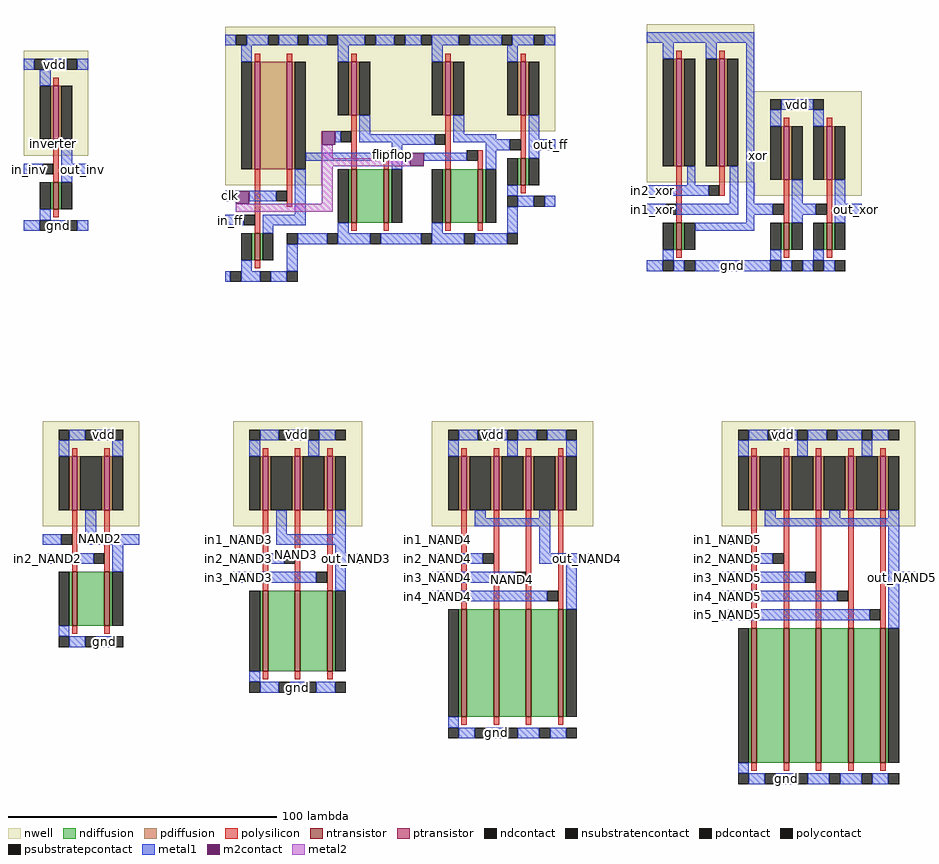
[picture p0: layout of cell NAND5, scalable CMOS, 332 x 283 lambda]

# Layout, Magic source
magic
tech scmos
<< nwell >>
rect -26 -25 -2 14
rect 49 -16 172 23
rect 206 -1 246 24
rect 49 -36 85 -16
rect 206 -35 286 -1
rect 246 -40 286 -35
rect -19 -163 17 -124
rect 52 -163 100 -124
rect 126 -163 186 -124
rect 234 -163 306 -124
<< ntransistor >>
rect -15 -45 -13 -35
rect 96 -50 98 -30
rect 108 -50 110 -30
rect 131 -50 133 -30
rect 143 -50 145 -30
rect 159 -36 161 -26
rect 60 -64 62 -54
rect 217 -60 219 -50
rect 257 -60 259 -50
rect 273 -60 275 -50
rect -8 -200 -6 -180
rect 4 -200 6 -180
rect 63 -217 65 -187
rect 75 -217 77 -187
rect 87 -217 89 -187
rect 137 -234 139 -194
rect 149 -234 151 -194
rect 161 -234 163 -194
rect 173 -234 175 -194
rect 245 -251 247 -201
rect 257 -251 259 -201
rect 269 -251 271 -201
rect 281 -251 283 -201
rect 293 -251 295 -201
<< ptransistor >>
rect -15 -19 -13 1
rect 60 -30 62 10
rect 72 -30 74 10
rect 96 -10 98 10
rect 131 -10 133 10
rect 159 -10 161 10
rect 217 -29 219 11
rect 233 -29 235 11
rect 257 -34 259 -14
rect 273 -34 275 -14
rect -8 -157 -6 -137
rect 4 -157 6 -137
rect 63 -157 65 -137
rect 75 -157 77 -137
rect 87 -157 89 -137
rect 137 -157 139 -137
rect 149 -157 151 -137
rect 161 -157 163 -137
rect 173 -157 175 -137
rect 245 -157 247 -137
rect 257 -157 259 -137
rect 269 -157 271 -137
rect 281 -157 283 -137
rect 293 -157 295 -137
<< ndiffusion >>
rect -16 -45 -15 -35
rect -13 -45 -12 -35
rect 95 -50 96 -30
rect 98 -50 108 -30
rect 110 -50 111 -30
rect 130 -50 131 -30
rect 133 -50 143 -30
rect 145 -50 146 -30
rect 158 -36 159 -26
rect 161 -36 162 -26
rect 59 -64 60 -54
rect 62 -64 63 -54
rect 216 -60 217 -50
rect 219 -60 220 -50
rect 256 -60 257 -50
rect 259 -60 260 -50
rect 272 -60 273 -50
rect 275 -60 276 -50
rect -9 -200 -8 -180
rect -6 -200 4 -180
rect 6 -200 7 -180
rect 62 -217 63 -187
rect 65 -217 75 -187
rect 77 -217 87 -187
rect 89 -217 90 -187
rect 136 -234 137 -194
rect 139 -234 149 -194
rect 151 -234 161 -194
rect 163 -234 173 -194
rect 175 -234 176 -194
rect 244 -251 245 -201
rect 247 -251 257 -201
rect 259 -251 269 -201
rect 271 -251 281 -201
rect 283 -251 293 -201
rect 295 -251 296 -201
<< pdiffusion >>
rect -16 -19 -15 1
rect -13 -19 -12 1
rect 59 -30 60 10
rect 62 -30 72 10
rect 74 -30 75 10
rect 95 -10 96 10
rect 98 -10 99 10
rect 130 -10 131 10
rect 133 -10 134 10
rect 158 -10 159 10
rect 161 -10 162 10
rect 216 -29 217 11
rect 219 -29 220 11
rect 232 -29 233 11
rect 235 -29 236 11
rect 256 -34 257 -14
rect 259 -34 260 -14
rect 272 -34 273 -14
rect 275 -34 276 -14
rect -9 -157 -8 -137
rect -6 -157 -5 -137
rect 3 -157 4 -137
rect 6 -157 7 -137
rect 62 -157 63 -137
rect 65 -157 66 -137
rect 74 -157 75 -137
rect 77 -157 78 -137
rect 86 -157 87 -137
rect 89 -157 90 -137
rect 136 -157 137 -137
rect 139 -157 140 -137
rect 148 -157 149 -137
rect 151 -157 152 -137
rect 160 -157 161 -137
rect 163 -157 164 -137
rect 172 -157 173 -137
rect 175 -157 176 -137
rect 244 -157 245 -137
rect 247 -157 248 -137
rect 256 -157 257 -137
rect 259 -157 260 -137
rect 268 -157 269 -137
rect 271 -157 272 -137
rect 280 -157 281 -137
rect 283 -157 284 -137
rect 292 -157 293 -137
rect 295 -157 296 -137
<< ndcontact >>
rect -20 -45 -16 -35
rect -12 -45 -8 -35
rect 91 -50 95 -30
rect 111 -50 115 -30
rect 126 -50 130 -30
rect 146 -50 150 -30
rect 154 -36 158 -26
rect 162 -36 166 -26
rect 55 -64 59 -54
rect 63 -64 67 -54
rect 212 -60 216 -50
rect 220 -60 224 -50
rect 252 -60 256 -50
rect 260 -60 264 -50
rect 268 -60 272 -50
rect 276 -60 280 -50
rect -13 -200 -9 -180
rect 7 -200 11 -180
rect 58 -217 62 -187
rect 90 -217 94 -187
rect 132 -234 136 -194
rect 176 -234 180 -194
rect 240 -251 244 -201
rect 296 -251 300 -201
<< pdcontact >>
rect -20 -19 -16 1
rect -12 -19 -8 1
rect 55 -30 59 10
rect 75 -30 79 10
rect 91 -10 95 10
rect 99 -10 103 10
rect 126 -10 130 10
rect 134 -10 138 10
rect 154 -10 158 10
rect 162 -10 166 10
rect 212 -29 216 11
rect 220 -29 224 11
rect 228 -29 232 11
rect 236 -29 240 11
rect 252 -34 256 -14
rect 260 -34 264 -14
rect 268 -34 272 -14
rect 276 -34 280 -14
rect -13 -157 -9 -137
rect -5 -157 3 -137
rect 7 -157 11 -137
rect 58 -157 62 -137
rect 66 -157 74 -137
rect 78 -157 86 -137
rect 90 -157 94 -137
rect 132 -157 136 -137
rect 140 -157 148 -137
rect 152 -157 160 -137
rect 164 -157 172 -137
rect 176 -157 180 -137
rect 240 -157 244 -137
rect 248 -157 256 -137
rect 260 -157 268 -137
rect 272 -157 280 -137
rect 284 -157 292 -137
rect 296 -157 300 -137
<< psubstratepcontact >>
rect -20 -53 -16 -49
rect -10 -53 -6 -49
rect 154 -44 158 -40
rect 164 -44 168 -40
rect 72 -58 76 -54
rect 87 -58 91 -54
rect 103 -58 107 -54
rect 122 -58 126 -54
rect 138 -58 142 -54
rect 154 -58 158 -54
rect 212 -68 216 -64
rect 220 -68 224 -64
rect 252 -68 256 -64
rect 260 -68 264 -64
rect 268 -68 272 -64
rect 276 -68 280 -64
rect 51 -72 55 -68
rect 62 -72 66 -68
rect 72 -72 76 -68
rect -13 -208 -9 -204
rect -3 -208 1 -204
rect 7 -208 11 -204
rect 58 -225 62 -221
rect 69 -225 73 -221
rect 79 -225 83 -221
rect 90 -225 94 -221
rect 132 -242 136 -238
rect 142 -242 146 -238
rect 154 -242 158 -238
rect 166 -242 170 -238
rect 176 -242 180 -238
rect 240 -259 244 -255
rect 250 -259 254 -255
rect 262 -259 266 -255
rect 274 -259 278 -255
rect 286 -259 290 -255
rect 296 -259 300 -255
<< nsubstratencontact >>
rect 53 16 57 20
rect 65 16 69 20
rect 76 16 80 20
rect 87 16 91 20
rect 101 16 105 20
rect 112 16 116 20
rect 122 16 126 20
rect 136 16 140 20
rect 152 16 156 20
rect 164 16 168 20
rect -22 7 -18 11
rect -10 7 -6 11
rect 252 -8 256 -4
rect 268 -8 272 -4
rect -13 -131 -9 -127
rect -3 -131 1 -127
rect 7 -131 11 -127
rect 58 -131 62 -127
rect 69 -131 73 -127
rect 80 -131 84 -127
rect 90 -131 94 -127
rect 132 -131 136 -127
rect 143 -131 147 -127
rect 154 -131 158 -127
rect 165 -131 169 -127
rect 176 -131 180 -127
rect 240 -131 244 -127
rect 251 -131 255 -127
rect 262 -131 266 -127
rect 273 -131 277 -127
rect 286 -131 290 -127
rect 296 -131 300 -127
<< polysilicon >>
rect 60 10 62 13
rect 72 10 74 13
rect 96 10 98 13
rect 131 10 133 13
rect 159 10 161 13
rect 217 11 219 14
rect 233 11 235 14
rect -15 1 -13 4
rect -15 -35 -13 -19
rect 96 -30 98 -10
rect 108 -30 110 -23
rect 131 -30 133 -10
rect 143 -30 145 -23
rect 159 -26 161 -10
rect -15 -48 -13 -45
rect 60 -54 62 -30
rect 72 -44 74 -30
rect 257 -14 259 -11
rect 273 -14 275 -11
rect 159 -39 161 -36
rect 217 -50 219 -29
rect 233 -40 235 -29
rect 257 -50 259 -34
rect 273 -50 275 -34
rect 96 -53 98 -50
rect 108 -53 110 -50
rect 131 -53 133 -50
rect 143 -53 145 -50
rect 217 -63 219 -60
rect 257 -63 259 -60
rect 273 -63 275 -60
rect 60 -67 62 -64
rect -8 -137 -6 -134
rect 4 -137 6 -134
rect 63 -137 65 -134
rect 75 -137 77 -134
rect 87 -137 89 -134
rect 137 -137 139 -134
rect 149 -137 151 -134
rect 161 -137 163 -134
rect 173 -137 175 -134
rect 245 -137 247 -134
rect 257 -137 259 -134
rect 269 -137 271 -134
rect 281 -137 283 -134
rect 293 -137 295 -134
rect -8 -180 -6 -157
rect 4 -180 6 -157
rect 63 -187 65 -157
rect 75 -187 77 -157
rect 87 -187 89 -157
rect -8 -203 -6 -200
rect 4 -203 6 -200
rect 137 -194 139 -157
rect 149 -194 151 -157
rect 161 -194 163 -157
rect 173 -194 175 -157
rect 63 -220 65 -217
rect 75 -220 77 -217
rect 87 -220 89 -217
rect 245 -201 247 -157
rect 257 -201 259 -157
rect 269 -201 271 -157
rect 281 -201 283 -157
rect 293 -201 295 -157
rect 137 -237 139 -234
rect 149 -237 151 -234
rect 161 -237 163 -234
rect 173 -237 175 -234
rect 245 -254 247 -251
rect 257 -254 259 -251
rect 269 -254 271 -251
rect 281 -254 283 -251
rect 293 -254 295 -251
<< polycontact >>
rect -19 -32 -15 -28
rect 92 -20 96 -16
rect 127 -21 131 -17
rect 104 -27 108 -23
rect 155 -23 159 -19
rect 139 -27 143 -23
rect 56 -51 60 -47
rect 68 -42 72 -38
rect 213 -47 217 -43
rect 229 -40 233 -36
rect 253 -47 257 -43
rect 269 -47 273 -43
rect -12 -170 -8 -166
rect 0 -177 4 -173
rect 59 -170 63 -166
rect 71 -177 75 -173
rect 83 -184 87 -180
rect 133 -170 137 -166
rect 145 -177 149 -173
rect 157 -184 161 -180
rect 169 -191 173 -187
rect 241 -170 245 -166
rect 253 -177 257 -173
rect 265 -184 269 -180
rect 277 -191 281 -187
rect 289 -198 293 -194
<< metal1 >>
rect 49 16 53 20
rect 57 16 65 20
rect 69 16 76 20
rect 80 16 87 20
rect 91 16 101 20
rect 105 16 112 20
rect 116 16 122 20
rect 126 16 136 20
rect 140 16 152 20
rect 156 16 164 20
rect 168 16 172 20
rect 206 17 246 21
rect -26 7 -22 11
rect -18 7 -10 11
rect -6 7 -2 11
rect 55 10 59 16
rect 91 10 95 16
rect 126 10 130 16
rect 154 10 158 16
rect 212 11 216 17
rect 228 11 232 17
rect -20 1 -16 7
rect -12 -28 -8 -19
rect -26 -32 -19 -28
rect -12 -32 -2 -28
rect 90 -20 92 -16
rect 99 -17 103 -10
rect 134 -17 138 -10
rect 99 -20 127 -17
rect 111 -21 127 -20
rect 134 -19 150 -17
rect 162 -19 166 -10
rect 134 -20 155 -19
rect 79 -27 104 -24
rect 111 -30 115 -21
rect 146 -23 155 -20
rect 162 -23 172 -19
rect 123 -27 139 -24
rect 146 -30 150 -23
rect 162 -26 166 -23
rect -12 -35 -8 -32
rect 49 -42 53 -38
rect 58 -42 68 -38
rect -20 -49 -16 -45
rect 75 -47 79 -30
rect -26 -53 -20 -49
rect -16 -53 -10 -49
rect -6 -53 -2 -49
rect 49 -51 56 -47
rect 63 -51 79 -47
rect 221 -36 224 -29
rect 154 -40 158 -36
rect 206 -40 229 -36
rect 158 -44 164 -40
rect 168 -44 172 -40
rect 237 -43 240 -29
rect 63 -54 67 -51
rect 91 -54 95 -50
rect 126 -54 130 -50
rect 154 -54 158 -44
rect 206 -47 213 -43
rect 217 -47 240 -43
rect 243 -43 246 17
rect 256 -8 268 -4
rect 252 -14 256 -8
rect 268 -14 272 -8
rect 260 -43 264 -34
rect 276 -43 280 -34
rect 243 -47 253 -43
rect 260 -47 269 -43
rect 276 -47 286 -43
rect 243 -50 246 -47
rect 260 -50 264 -47
rect 276 -50 280 -47
rect 76 -58 87 -54
rect 91 -58 103 -54
rect 107 -58 122 -54
rect 126 -58 138 -54
rect 142 -58 154 -54
rect 55 -68 59 -64
rect 72 -68 76 -58
rect 224 -53 246 -50
rect 212 -64 216 -60
rect 252 -64 256 -60
rect 268 -64 272 -60
rect 206 -68 212 -64
rect 216 -68 220 -64
rect 224 -68 252 -64
rect 256 -68 260 -64
rect 264 -68 268 -64
rect 272 -68 276 -64
rect 49 -72 51 -68
rect 55 -72 62 -68
rect 66 -72 72 -68
rect -9 -131 -3 -127
rect 1 -131 7 -127
rect -13 -137 -9 -131
rect 7 -137 11 -131
rect 62 -131 69 -127
rect 73 -131 80 -127
rect 84 -131 90 -127
rect 136 -131 143 -127
rect 147 -131 154 -127
rect 158 -131 165 -127
rect 169 -131 176 -127
rect 58 -137 62 -131
rect 80 -137 84 -131
rect 132 -137 136 -131
rect 154 -137 158 -131
rect 176 -137 180 -131
rect 244 -131 251 -127
rect 255 -131 262 -127
rect 266 -131 273 -127
rect 277 -131 286 -127
rect 290 -131 296 -127
rect 240 -137 244 -131
rect 262 -137 266 -131
rect 286 -137 290 -131
rect -3 -166 1 -157
rect 68 -166 72 -157
rect 90 -166 94 -157
rect 142 -160 146 -157
rect 166 -160 170 -157
rect 142 -163 170 -160
rect 250 -160 254 -157
rect 274 -160 278 -157
rect 296 -160 300 -157
rect 250 -163 300 -160
rect -19 -170 -12 -166
rect -3 -170 17 -166
rect 52 -170 59 -166
rect 68 -170 94 -166
rect 126 -170 133 -166
rect -19 -177 0 -173
rect 7 -180 11 -170
rect 90 -173 94 -170
rect 166 -173 170 -163
rect 234 -170 241 -166
rect 52 -177 71 -173
rect 90 -177 100 -173
rect 126 -177 145 -173
rect 166 -177 186 -173
rect 234 -177 253 -173
rect 52 -184 83 -180
rect 90 -187 94 -177
rect 126 -184 157 -180
rect -13 -204 -9 -200
rect -9 -208 -3 -204
rect 1 -208 7 -204
rect 126 -191 169 -187
rect 176 -194 180 -177
rect 296 -180 300 -163
rect 234 -184 265 -180
rect 296 -184 306 -180
rect 234 -191 277 -187
rect 58 -221 62 -217
rect 62 -225 69 -221
rect 73 -225 79 -221
rect 83 -225 90 -221
rect 234 -198 289 -194
rect 296 -201 300 -184
rect 132 -238 136 -234
rect 136 -242 142 -238
rect 146 -242 154 -238
rect 158 -242 166 -238
rect 170 -242 176 -238
rect 240 -255 244 -251
rect 244 -259 250 -255
rect 254 -259 262 -255
rect 266 -259 274 -255
rect 278 -259 286 -255
rect 290 -259 296 -255
<< m2contact >>
rect 85 -21 90 -16
rect 118 -29 123 -24
rect 53 -43 58 -38
<< metal2 >>
rect 85 -26 89 -21
rect 85 -29 118 -26
rect 85 -43 89 -29
rect 53 -46 89 -43
<< labels >>
rlabel space -33 -60 3 19 1 inverter
rlabel space 46 -75 177 26 1 flipflop
rlabel metal1 51 -49 51 -49 1 in_ff
rlabel metal1 51 -40 51 -40 1 clk
rlabel metal1 170 -21 170 -21 1 out_ff
rlabel metal1 -24 -30 -24 -30 1 in_inv
rlabel metal1 -4 -30 -4 -30 1 out_inv
rlabel metal1 -14 9 -14 9 1 vdd
rlabel metal1 -13 -51 -13 -51 1 gnd
rlabel metal1 238 -66 238 -66 1 gnd
rlabel space 202 -79 293 29 1 xor
rlabel metal1 208 -38 208 -38 1 in2_xor
rlabel metal1 208 -45 208 -45 1 in1_xor
rlabel metal1 284 -45 284 -45 1 out_xor
rlabel metal1 262 -6 262 -6 1 vdd
rlabel space -23 -216 28 -119 1 NAND2
rlabel metal1 4 -129 4 -129 1 vdd
rlabel metal1 -17 -168 -17 -168 1 in1_NAND2
rlabel metal1 -17 -175 -17 -175 1 in2_NAND2
rlabel metal1 4 -206 4 -206 1 gnd
rlabel metal1 15 -168 15 -168 1 out_NAND2
rlabel metal1 54 -168 54 -168 1 in1_NAND3
rlabel metal1 54 -175 54 -175 1 in2_NAND3
rlabel metal1 54 -182 54 -182 1 in3_NAND3
rlabel metal1 76 -129 76 -129 1 vdd
rlabel metal1 76 -223 76 -223 1 gnd
rlabel metal1 98 -175 98 -175 7 out_NAND3
rlabel space 47 -230 104 -117 1 NAND3
rlabel metal1 149 -129 149 -129 1 vdd
rlabel metal1 150 -240 150 -240 1 gnd
rlabel metal1 128 -168 128 -168 1 in1_NAND4
rlabel metal1 128 -175 128 -175 1 in2_NAND4
rlabel metal1 128 -182 128 -182 1 in3_NAND4
rlabel metal1 128 -189 128 -189 1 in4_NAND4
rlabel metal1 184 -175 184 -175 7 out_NAND4
rlabel space 122 -246 190 -120 1 NAND4
rlabel metal1 257 -129 257 -129 1 vdd
rlabel metal1 258 -257 258 -257 1 gnd
rlabel metal1 236 -168 236 -168 1 in1_NAND5
rlabel metal1 236 -175 236 -175 1 in2_NAND5
rlabel metal1 236 -182 236 -182 1 in3_NAND5
rlabel metal1 236 -189 236 -189 1 in4_NAND5
rlabel metal1 236 -196 236 -196 1 in5_NAND5
rlabel metal1 304 -182 304 -182 7 out_NAND5
<< end >>
